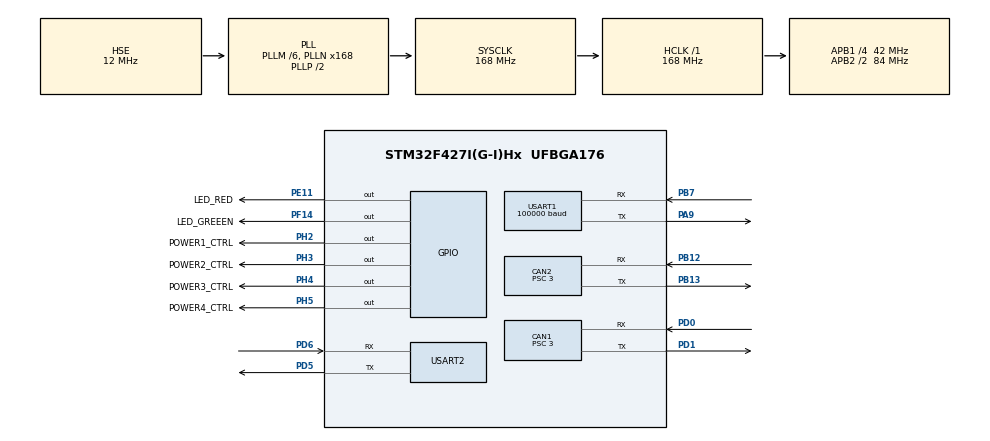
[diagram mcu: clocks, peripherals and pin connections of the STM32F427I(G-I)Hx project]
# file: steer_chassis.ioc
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CAN1.BS1=CAN_BS1_9TQ
CAN1.BS2=CAN_BS2_4TQ
CAN1.CalculateBaudRate=1000000
CAN1.CalculateTimeBit=1000
CAN1.CalculateTimeQuantum=71.42857142857143
CAN1.Prescaler=3
CAN2.BS1=CAN_BS1_9TQ
CAN2.BS2=CAN_BS2_4TQ
CAN2.CalculateBaudRate=1000000
CAN2.CalculateTimeBit=1000
CAN2.CalculateTimeQuantum=71.42857142857143
CAN2.Prescaler=3
Dma.Request0=USART1_RX
Dma.Request1=USART2_RX
Dma.USART1_RX.0.Direction=DMA_PERIPH_TO_MEMORY
Dma.USART1_RX.0.FIFOMode=DMA_FIFOMODE_DISABLE
Dma.USART1_RX.0.Instance=DMA2_Stream2
Dma.USART1_RX.0.MemDataAlignment=DMA_MDATAALIGN_BYTE
Dma.USART1_RX.0.MemInc=DMA_MINC_ENABLE
Dma.USART1_RX.0.Mode=DMA_NORMAL
Dma.USART1_RX.0.PeriphDataAlignment=DMA_PDATAALIGN_BYTE
Dma.USART1_RX.0.PeriphInc=DMA_PINC_DISABLE
Dma.USART1_RX.0.Priority=DMA_PRIORITY_VERY_HIGH
Dma.USART2_RX.1.Direction=DMA_PERIPH_TO_MEMORY
Dma.USART2_RX.1.FIFOMode=DMA_FIFOMODE_DISABLE
Dma.USART2_RX.1.Instance=DMA1_Stream5
Dma.USART2_RX.1.MemDataAlignment=DMA_MDATAALIGN_BYTE
Dma.USART2_RX.1.MemInc=DMA_MINC_ENABLE
Dma.USART2_RX.1.Mode=DMA_NORMAL
Dma.USART2_RX.1.PeriphDataAlignment=DMA_PDATAALIGN_BYTE
Dma.USART2_RX.1.PeriphInc=DMA_PINC_DISABLE
Dma.USART2_RX.1.Priority=DMA_PRIORITY_LOW
Mcu.Family=STM32F4
Mcu.Name=STM32F427I(G-I)Hx
Mcu.Package=UFBGA176
NVIC.CAN1_RX0_IRQn=true\:0\:0\:false\:false\:true\:true\:true\:true
NVIC.CAN1_RX1_IRQn=true\:0\:0\:false\:false\:true\:true\:true\:true
NVIC.CAN2_RX0_IRQn=true\:0\:0\:false\:false\:true\:true\:true\:true
NVIC.CAN2_RX1_IRQn=true\:0\:0\:false\:false\:true\:true\:true\:true
NVIC.DMA1_Stream5_IRQn=true\:0\:0\:false\:false\:true\:false\:true\:true
NVIC.DMA2_Stream2_IRQn=true\:0\:0\:false\:false\:true\:false\:true\:true
NVIC.PriorityGroup=NVIC_PRIORITYGROUP_4
NVIC.USART2_IRQn=true\:0\:0\:false\:false\:true\:true\:true\:true
PA13.Mode=Serial_Wire
PA13.Signal=SYS_JTMS-SWDIO
PA14.Mode=Serial_Wire
PA14.Signal=SYS_JTCK-SWCLK
PA9.Mode=Asynchronous
PA9.Signal=USART1_TX
PB12.Mode=CAN_Activate
PB12.Signal=CAN2_RX
PB13.Mode=CAN_Activate
PB13.Signal=CAN2_TX
PB7.Mode=Asynchronous
PB7.Signal=USART1_RX
PD0.Mode=CAN_Activate
PD0.Signal=CAN1_RX
PD1.Mode=CAN_Activate
PD1.Signal=CAN1_TX
PD5.Mode=Asynchronous
PD5.Signal=USART2_TX
PD6.Mode=Asynchronous
PD6.Signal=USART2_RX
PE11.GPIO_Label=LED_RED
PE11.Signal=GPIO_Output
PF14.GPIO_Label=LED_GREEEN
PF14.Signal=GPIO_Output
PH0/OSC_IN.Mode=HSE-External-Oscillator
PH0/OSC_IN.Signal=RCC_OSC_IN
PH1/OSC_OUT.Mode=HSE-External-Oscillator
PH1/OSC_OUT.Signal=RCC_OSC_OUT
PH2.GPIO_Label=POWER1_CTRL
PH2.Signal=GPIO_Output
PH3.GPIO_Label=POWER2_CTRL
PH3.Signal=GPIO_Output
PH4.GPIO_Label=POWER3_CTRL
PH4.Signal=GPIO_Output
PH5.GPIO_Label=POWER4_CTRL
PH5.Signal=GPIO_Output
ProjectManager.HeapSize=0x200
ProjectManager.StackSize=0x400
ProjectManager.TargetToolchain=STM32CubeIDE
RCC.48MHZClocksFreq_Value=84000000
RCC.AHBFreq_Value=168000000
RCC.APB1CLKDivider=RCC_HCLK_DIV4
RCC.APB1Freq_Value=42000000
RCC.APB1TimFreq_Value=84000000
RCC.APB2CLKDivider=RCC_HCLK_DIV2
RCC.APB2Freq_Value=84000000
RCC.APB2TimFreq_Value=168000000
RCC.CortexFreq_Value=168000000
RCC.HCLKFreq_Value=168000000
RCC.HSE_VALUE=12000000
RCC.HSI_VALUE=16000000
RCC.LSE_VALUE=32768
RCC.PLLM=6
RCC.PLLN=168
RCC.PLLSourceVirtual=RCC_PLLSOURCE_HSE
RCC.SYSCLKFreq_VALUE=168000000
RCC.SYSCLKSource=RCC_SYSCLKSOURCE_PLLCLK
RCC.VCOOutputFreq_Value=336000000
USART1.BaudRate=100000
USART1.VirtualMode=VM_ASYNC
USART1.WordLength=WORDLENGTH_9B
USART2.VirtualMode=VM_ASYNC
board=custom

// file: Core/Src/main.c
/* USER CODE BEGIN Header */
/**
  ******************************************************************************
  * @file           : main.c
  * @brief          : Main program body
  ******************************************************************************
  * @attention
  *
  * Copyright (c) 2024 STMicroelectronics.
  * All rights reserved.
  *
  * This software is licensed under terms that can be found in the LICENSE file
  * in the root directory of this software component.
  * If no LICENSE file comes with this software, it is provided AS-IS.
  *
  ******************************************************************************
  */
/* USER CODE END Header */
#include "main.h"
#include "can.h"
#include "dma.h"
#include "usart.h"
#include "gpio.h"

/* USER CODE BEGIN Includes */
#include "mycan.h"
#include "pid.h"
#include "refree.h"
#include "DR16.h"
#include "string.h"
#include "stdlib.h"
/* USER CODE END Includes */

void SystemClock_Config(void);

/* USER CODE BEGIN 0 */
uint8_t UART_RECV[18];
uint8_t UART_REFREE[256];
extern  RC_Ctrl RC_CtrlData;
extern uint16_t con_pitch;
extern  Run_Data run;
extern int16_t send2C;

double msp(double x, double in_min, double in_max, double out_min, double out_max)//映射函数，将编码器的值（0~8191）转换为弧度制的角度值（-pi~pi）
{
    return (x-in_min)*(out_max-out_min)/(in_max-in_min)+out_min;
}
/* USER CODE END 0 */

int main(void)
{

  /* MCU Configuration--------------------------------------------------------*/

  /* Reset of all peripherals, Initializes the Flash interface and the Systick. */
  HAL_Init();

  /* Configure the system clock */
  SystemClock_Config();

  /* Initialize all configured peripherals */
  MX_GPIO_Init();
  MX_DMA_Init();
  MX_CAN1_Init();
  MX_CAN2_Init();
  MX_USART1_UART_Init();
  MX_USART2_UART_Init();
  /* USER CODE BEGIN 2 */
    HAL_GPIO_WritePin(GPIOH, POWER1_CTRL_Pin|POWER2_CTRL_Pin|POWER3_CTRL_Pin|POWER4_CTRL_Pin, GPIO_PIN_SET);
    my_can1_init();
    my_can2_init();
    all_pid_init();
    RC_Init();
   REFREE_Init();

  /* USER CODE END 2 */

  /* Infinite loop */
  while (1)
  {

    /* USER CODE BEGIN 3 */
      RC_Robot_Ctrl(&run);
      con_pitch=msp(RC_CtrlData.rc.ch1-1024, 0, 1024,0,360);//还得改，限位值
      send_msg( send2C,con_pitch,RC_CtrlData.rc.s1,RC_CtrlData.rc.s2);
      HAL_Delay(1);
  }
  /* USER CODE END 3 */
}

void SystemClock_Config(void)
{
  RCC_OscInitTypeDef RCC_OscInitStruct = {0};
  RCC_ClkInitTypeDef RCC_ClkInitStruct = {0};

  /** Configure the main internal regulator output voltage
  */
  __HAL_RCC_PWR_CLK_ENABLE();
  __HAL_PWR_VOLTAGESCALING_CONFIG(PWR_REGULATOR_VOLTAGE_SCALE1);

  /** Initializes the RCC Oscillators according to the specified parameters
  * in the RCC_OscInitTypeDef structure.
  */
  RCC_OscInitStruct.OscillatorType = RCC_OSCILLATORTYPE_HSE;
  RCC_OscInitStruct.HSEState = RCC_HSE_ON;
  RCC_OscInitStruct.PLL.PLLState = RCC_PLL_ON;
  RCC_OscInitStruct.PLL.PLLSource = RCC_PLLSOURCE_HSE;
  RCC_OscInitStruct.PLL.PLLM = 6;
  RCC_OscInitStruct.PLL.PLLN = 168;
  RCC_OscInitStruct.PLL.PLLP = RCC_PLLP_DIV2;
  RCC_OscInitStruct.PLL.PLLQ = 4;
  if (HAL_RCC_OscConfig(&RCC_OscInitStruct) != HAL_OK)
  {
    Error_Handler();
  }

  /** Initializes the CPU, AHB and APB buses clocks
  */
  RCC_ClkInitStruct.ClockType = RCC_CLOCKTYPE_HCLK|RCC_CLOCKTYPE_SYSCLK
                              |RCC_CLOCKTYPE_PCLK1|RCC_CLOCKTYPE_PCLK2;
  RCC_ClkInitStruct.SYSCLKSource = RCC_SYSCLKSOURCE_PLLCLK;
  RCC_ClkInitStruct.AHBCLKDivider = RCC_SYSCLK_DIV1;
  RCC_ClkInitStruct.APB1CLKDivider = RCC_HCLK_DIV4;
  RCC_ClkInitStruct.APB2CLKDivider = RCC_HCLK_DIV2;

  if (HAL_RCC_ClockConfig(&RCC_ClkInitStruct, FLASH_LATENCY_5) != HAL_OK)
  {
    Error_Handler();
  }
}

/* USER CODE BEGIN 4 */
void HAL_UARTEx_RxEventCallback(UART_HandleTypeDef *huart, uint16_t Size)
{
    RemoteDataProcess(UART_RECV,&RC_CtrlData);
   if( huart==&huart1)
   {
       HAL_UARTEx_ReceiveToIdle_DMA(&huart1, UART_RECV, 18);
       __HAL_DMA_DISABLE_IT(huart1.hdmarx, DMA_IT_HT);
   }
    if( huart==&huart2) {
        HAL_UARTEx_ReceiveToIdle_DMA(&huart2, UART_REFREE, 256);
        __HAL_DMA_DISABLE_IT(huart2.hdmarx, DMA_IT_HT);
        unPackDataFromRF(UART_REFREE, 256);
    }
}

/* USER CODE END 4 */

void Error_Handler(void)
{
  __disable_irq();
  while (1)
  {
  }
}
